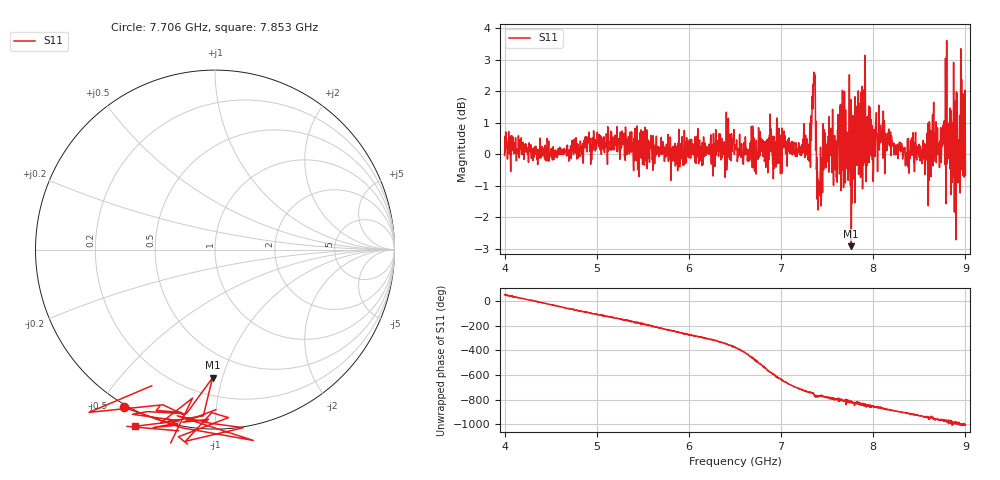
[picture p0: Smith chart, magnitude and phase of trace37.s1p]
! Created with skrf 1.8.0 (http://scikit-rf.org).
# Hz S RI R 50.0
!freq ReS11 ImS11
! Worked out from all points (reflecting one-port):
!   1601 points, 4 GHz to 9 GHz, reference 50 ohm
!   lowest |S11| = -2.9 dB at 7.762 GHz (marker M1), VSWR 6.01, Z = 15.9 - j46.4 ohm
!   phase of S11 starts at 52 deg and turns -1057 deg over the sweep
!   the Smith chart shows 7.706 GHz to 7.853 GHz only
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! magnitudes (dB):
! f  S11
! 4 GHz  0.0
! 4.625 GHz  0.0
! 5.25 GHz  -0.2
! 5.875 GHz  0.3
! 6.5 GHz  0.3
! 6.725 GHz  0.2
! 6.778 GHz  0.4
! 7.125 GHz  0.2
! 7.294 GHz  -0.2
! 7.347 GHz  1.4
! 7.362 GHz  2.6
! 7.397 GHz  -1.3
! 7.412 GHz  -1.3
! 7.481 GHz  -0.4
! 7.519 GHz  -0.6
! 7.588 GHz  -0.5
! 7.691 GHz  0.5
! 7.75 GHz  -0.2
! 7.762 GHz  -2.9
! 7.775 GHz  0.9
! 7.812 GHz  0.0
! 7.891 GHz  1.1
! 8.375 GHz  0.0
! 8.728 GHz  0.0
! 8.775 GHz  0.3
! 8.919 GHz  -0.9
! 8.972 GHz  0.9
! 9 GHz  -0.7
